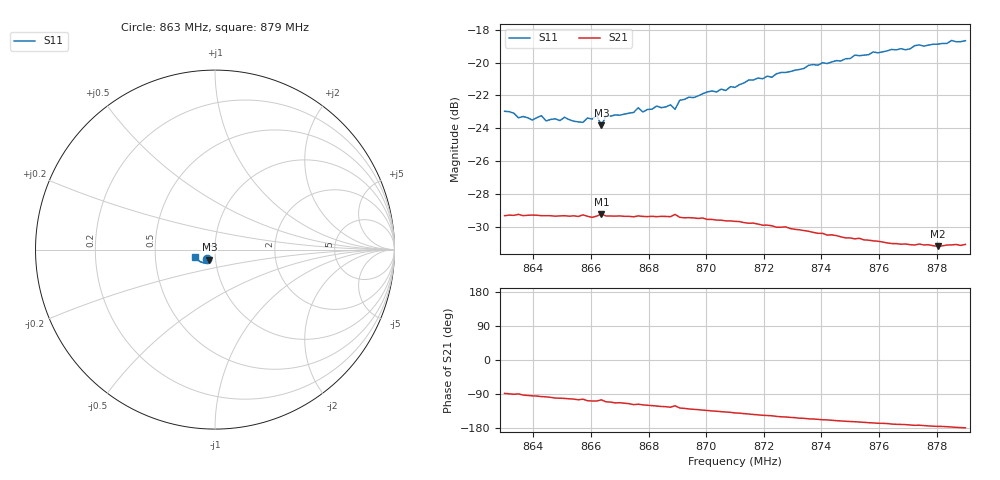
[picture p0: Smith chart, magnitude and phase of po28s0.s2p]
# HZ S RI R 50
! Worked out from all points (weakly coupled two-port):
!   101 points, 863 MHz to 879 MHz, reference 50 ohm
!   highest |S21| = -29.24 dB at 866.36 MHz (marker M1); lowest = -31.2 dB at 878.04 MHz (marker M2)
!   lowest |S11| = -23.8 dB at 866.36 MHz (marker M3), VSWR 1.14, Z = 46.7 - j5.28 ohm
!   |S11| at or under -10 dB: start of sweep to end of sweep
!   S12 and S22 are empty: the file has one direction only
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8.63e8  -0.0472 -0.0531  0.00116 -0.0341  0 0  0 0
8.6396e8  -0.0404 -0.0532  -0.00274 -0.0342  0 0  0 0
8.6428e8  -0.0411 -0.0553  -0.00391 -0.0339  0 0  0 0
8.6444e8  -0.0397 -0.0533  -0.00427 -0.0339  0 0  0 0
8.6508e8  -0.0397 -0.0554  -0.00672 -0.0335  0 0  0 0
8.6572e8  -0.033 -0.0569  -0.00792 -0.0334  0 0  0 0
8.662e8  -0.0388 -0.057  -0.0106 -0.0324  0 0  0 0
8.6636e8  -0.0311 -0.0564  -0.00903 -0.0333  0 0  0 0
8.6652e8  -0.0362 -0.0584  -0.0119 -0.032  0 0  0 0
8.6748e8  -0.0364 -0.0604  -0.0158 -0.03  0 0  0 0
8.6764e8  -0.0377 -0.0624  -0.0153 -0.0305  0 0  0 0
8.678e8  -0.037 -0.0603  -0.0162 -0.0299  0 0  0 0
8.6844e8  -0.037 -0.0628  -0.0183 -0.0286  0 0  0 0
8.6876e8  -0.0371 -0.0645  -0.0192 -0.028  0 0  0 0
8.6892e8  -0.0311 -0.065  -0.0177 -0.0296  0 0  0 0
8.6908e8  -0.0401 -0.0654  -0.0202 -0.0271  0 0  0 0
8.71e8  -0.0464 -0.0701  -0.025 -0.0212  0 0  0 0
8.7148e8  -0.0499 -0.0731  -0.0258 -0.0196  0 0  0 0
8.7372e8  -0.0657 -0.0736  -0.0277 -0.0125  0 0  0 0
8.7644e8  -0.0899 -0.0628  -0.0276 -0.00533  0 0  0 0
8.7804e8  -0.1025 -0.0495  -0.0275 -0.00231  0 0  0 0
8.79e8  -0.109 -0.0414  -0.0279 -0.000479  0 0  0 0
